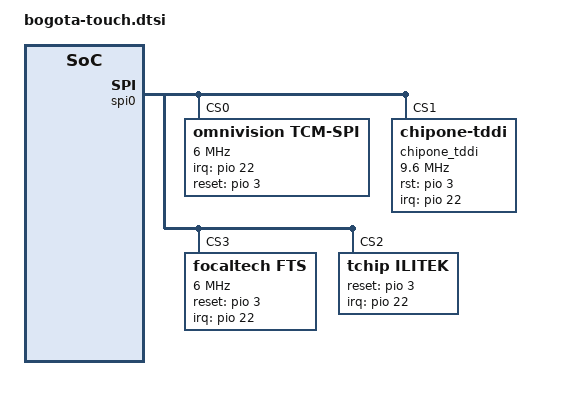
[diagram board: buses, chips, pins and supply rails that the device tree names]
// SPDX-License-Identifier: (GPL-2.0 OR MIT)
/*
 * Copyright (C) 2020 MediaTek Inc.
 */

/* TOUCH start */

&spi0 {
	status = "okay";
	#address-cells = <1>;
	#size-cells = <0>;
	mediatek,pad-select = <0>, <1>, <2>, <3>;

	omnivision@0 {
		compatible = "omnivision,tcm-spi";
		reg = <0>; //Same as CS ID
		status = "ok";
		spi-max-frequency = <6000000>;
		interrupt-parent = <&pio>;
		interrupts = <22 0x2008>;

		omnivision,irq-gpio = <&pio 22 0x00>;
		omnivision,irq-on-state = <0>;
		omnivision,reset-gpio = <&pio 3 0x00>;
		omnivision,reset-on-state = <0>;
		omnivision,reset-active-ms = <20>;
		omnivision,reset-delay-ms = <200>;
		omnivision,power-delay-ms = <200>;
		omnivision,spi-mode = <3>;
		omnivision,byte-delay-us = <0>;
		omnivision,block-delay-us = <0>;
		omnivision,ubl-max-freq = <3000000>;
		omnivision,ubl-byte-delay-us = <20>;
        };

	chipone_tddi@1 {
		compatible = "chipone-tddi";
		reg = <1>;
		spi-max-frequency = <9600000>;
		interrupt-parent = <&pio>;
		interrupts = <22 0x2008>;
		chipone,rst-gpio = <&pio 3 0x00>;
		chipone,irq-gpio = <&pio 22 0x00>;
		chipone,x-res = <4320>;
		chipone,y-res = <9600>;

		/* Charger detect*/
		chipone,touch-charger-detect-enable;
		chipone,touch-charger-detect-type = "notify"; /* notify, poll */
		chipone,touch-charger-detect-psy-name = "mtk-master-charger"; /* usb */
		chipone,touch-charger-detect-psp = "POWER_SUPPLY_PROP_ONLINE";
		chipone,touch-charger-detect-psp-poll-interval = <1000>;
		chipone,supported_gesture_type = <0x06>;
	};

	focaltech@3{
		compatible = "focaltech,fts";
                reg = <3>; //Same as CS ID
                status = "ok";
		spi-max-frequency = <6000000>;
                focaltech,reset-gpio = <&pio 3 0x0>;
                focaltech,irq-gpio = <&pio 22 0x2>;
                focaltech,max-touch-number = <10>;
                focaltech,display-coords = <0 0 1080 2400>;
                //focaltech,report_gesture_key = <59>;
                //focaltech,supported_gesture_type = <0x06>;
                focaltech,panel-supplier = "dijing_ft8725";
                focaltech,touch-charger-detect-psy-name = "battery";
                focaltech,touch-charger-detect-psp = "POWER_SUPPLY_PROP_STATUS";
	};

	ilitek@2 {
                compatible = "tchip,ilitek";
                reg = <2>; //Same as CS ID
                status = "ok";
                touch,reset-gpio = <&pio 3 0x0>;
                touch,irq-gpio = <&pio 22 0x0>;
                touch,psy-name = "battery";
                //ilitek,report_gesture_key;
                //ilitek,supported_gesture_type = <0x06>; //bit2-0: double:single:zero tap
        };

};

/*
&pio {
        ctp_ft8725_pins_default: pins_default {
        };
        ctp_ft8725_spi_mode: spimode_default {
                pins_cmd_dat {
                        pinmux = <PINMUX_GPIO61__FUNC_SPI0_CLK>,
                                <PINMUX_GPIO62__FUNC_SPI0_CSB>,
                                <PINMUX_GPIO63__FUNC_SPI0_MO>,
                                <PINMUX_GPIO64__FUNC_SPI0_MI>;
                        drive-strength = <2>;
                };
        };
};
*/

/* TOUCH end */
